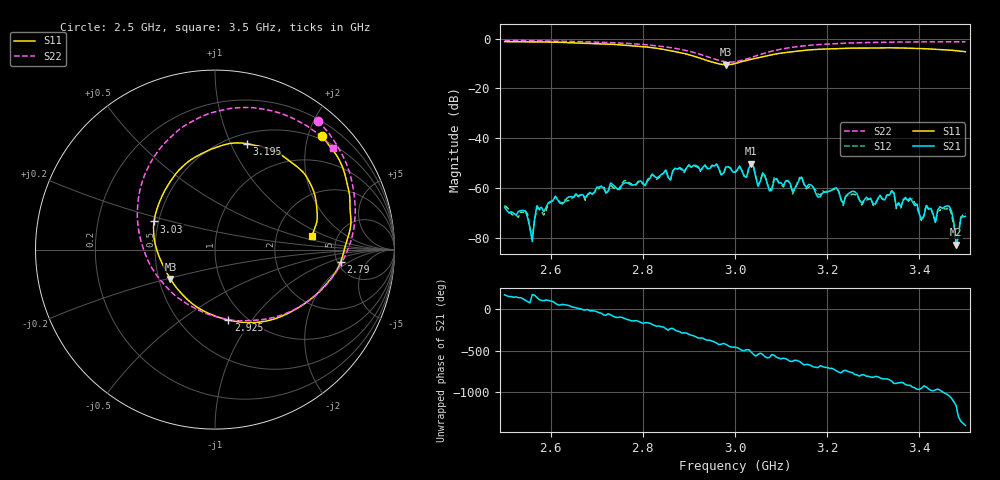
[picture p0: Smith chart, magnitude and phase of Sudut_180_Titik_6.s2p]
# Hz S RI R 50
! CMT, C1220, 16058040, 17.2.0/1
! Date: 15/08/2018 10:17:54
! Data: Format (Calibration Info)
! Freq  S11: Re/Im (F2)  S21: Re/Im (F2)  S12: Re/Im (F2)  S22: Re/Im (F2)
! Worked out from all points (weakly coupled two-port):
!   201 points, 2.5 GHz to 3.5 GHz, reference 50 ohm
!   highest |S21| = -50.23 dB at 3.035 GHz (marker M1); lowest = -82.8 dB at 3.48 GHz (marker M2)
!   lowest |S11| = -10.5 dB at 2.98 GHz (marker M3), VSWR 1.85, Z = 28.8 - j10.4 ohm
!   |S11| at or under -10 dB: 2.961 GHz to 3.001 GHz (39.29 MHz wide, 1.32 % of centre)
!   |S22| runs from -9.4 to -0.7 dB; largest |S21 - S12| = 0.0002
!   S11 on the Smith chart (normalised r, x): 2.5 GHz: 0.43, +2.24; 2.79 GHz: 5.36, -1.42; 2.925 GHz: 0.83, -0.78; 3.03 GHz: 0.47, +0.17; 3.195 GHz: 0.60, +1.15; 3.5 GHz: 3.23, +0.71
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2.5e9  0.5946 0.6343  -0.0004 8.56e-05  -0.000437 7.33e-05  0.5735 0.7163
2.545e9  0.6422 0.5709  -7.77e-05 0.000334  -7.49e-05 0.000349  0.6241 0.6612
2.56e9  0.6588 0.5508  -8.27e-05 1.38e-05  -6.52e-05 7.14e-05  0.64 0.6409
2.57e9  0.6712 0.5339  -0.000313 0.000306  -0.00021 0.000317  0.6506 0.6254
2.67e9  0.7475 0.3182  0.00071 -0.000167  0.000683 -0.000224  0.7446 0.4437
2.79e9  0.7004 -0.0669  -0.00115 -0.000712  -0.00116 -0.000577  0.7692 0.0958
2.835e9  0.5853 -0.2294  -0.00153 0.000725  -0.00147 0.000599  0.7024 -0.0787
2.925e9  0.0748 -0.3927  0.00218 0.000455  0.00209 0.000533  0.2878 -0.3865
2.98e9  -0.2481 -0.1644  0.00116 -0.00235  0.00122 -0.0023  -0.1362 -0.3141
3e9  -0.3133 -0.0334  -0.000262 -0.00205  -0.000317 -0.00203  -0.2721 -0.2065
3.03e9  -0.3395 0.157  -0.00152 -0.00195  -0.00153 -0.00201  -0.4012 0.0114
3.035e9  -0.3345 0.1867  -0.00282 -0.00122  -0.00283 -0.00134  -0.4135 0.0508
3.075e9  -0.2355 0.3991  -0.000646 0.000575  -0.000727 0.000573  -0.4118 0.3563
3.17e9  0.0969 0.5929  0.000932 0.00045  0.000851 0.000541  -0.0748 0.741
3.195e9  0.1756 0.5902  0.000775 0.000279  0.000793 0.000217  0.0185 0.7719
3.335e9  0.4922 0.4296  -0.000436 -0.000573  -0.000484 -0.000544  0.409 0.7427
3.385e9  0.5455 0.3363  -0.000428 0.000315  -0.000478 0.000375  0.5011 0.6958
3.405e9  0.5582 0.2953  -0.000155 0.000174  -0.000116 0.000176  0.5328 0.6739
3.415e9  0.5623 0.2724  -0.000369 0.000243  -0.000362 0.000289  0.5487 0.6632
3.465e9  0.568 0.1564  0.000333 0.000269  0.00025 0.000309  0.6154 0.6076
3.48e9  0.5569 0.1234  1.38e-05 -7.08e-05  2.31e-05 -6.32e-05  0.6334 0.5888
3.5e9  0.54 0.0775  0.000186 0.000192  0.000253 0.000182  0.6562 0.5644
